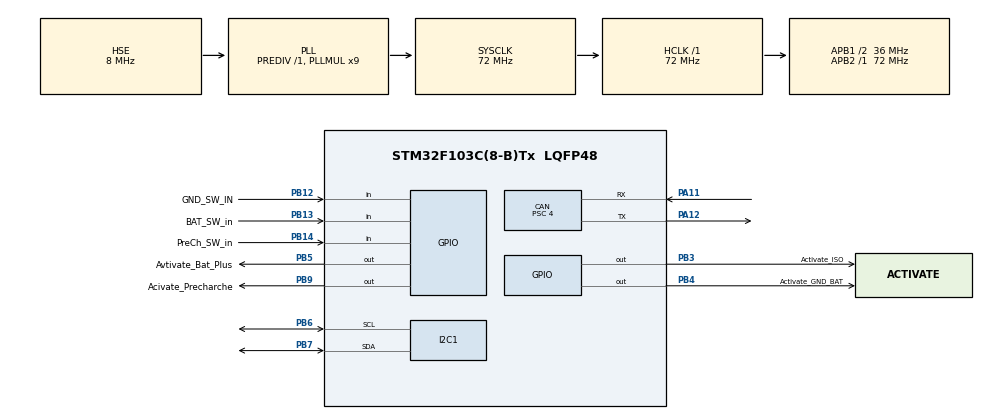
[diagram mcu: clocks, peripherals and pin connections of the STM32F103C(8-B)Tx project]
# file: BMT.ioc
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CAN.BS1=CAN_BS1_6TQ
CAN.BS2=CAN_BS2_2TQ
CAN.CalculateBaudRate=1000000
CAN.CalculateTimeBit=1000
CAN.CalculateTimeQuantum=111.11111111111111
CAN.Prescaler=4
I2C1.DualAddressMode=I2C_DUALADDRESS_DISABLE
I2C1.GeneralCallMode=I2C_GENERALCALL_DISABLE
I2C1.I2C_Mode=I2C_Fast
I2C1.NoStretchMode=I2C_NOSTRETCH_DISABLE
Mcu.Family=STM32F1
Mcu.Name=STM32F103C(8-B)Tx
Mcu.Package=LQFP48
NVIC.PriorityGroup=NVIC_PRIORITYGROUP_4
NVIC.TIM2_IRQn=true\:0\:0\:false\:false\:true\:true\:true\:true
NVIC.USB_LP_CAN1_RX0_IRQn=true\:0\:0\:false\:false\:true\:true\:true\:true
PA11.GPIO_PuPd=GPIO_PULLUP
PA11.Mode=CAN_Activate
PA11.Signal=CAN_RX
PA12.GPIO_Speed=GPIO_SPEED_FREQ_HIGH
PA12.Mode=CAN_Activate
PA12.Signal=CAN_TX
PA13.Mode=Serial_Wire
PA13.Signal=SYS_JTMS-SWDIO
PA14.Mode=Serial_Wire
PA14.Signal=SYS_JTCK-SWCLK
PB12.GPIO_Label=GND_SW_IN
PB12.Signal=GPIO_Input
PB13.GPIO_Label=BAT_SW_in
PB13.Signal=GPIO_Input
PB14.GPIO_Label=PreCh_SW_in
PB14.Signal=GPIO_Input
PB3.GPIO_Label=Activate_ISO
PB3.Signal=GPIO_Output
PB4.GPIO_Label=Activate_GND_BAT
PB4.Signal=GPIO_Output
PB5.GPIO_Label=Avtivate_Bat_Plus
PB5.Signal=GPIO_Output
PB6.GPIO_Speed=GPIO_SPEED_FREQ_HIGH
PB6.Mode=I2C
PB6.Signal=I2C1_SCL
PB7.GPIO_Speed=GPIO_SPEED_FREQ_HIGH
PB7.Mode=I2C
PB7.Signal=I2C1_SDA
PB9.GPIO_Label=Acivate_Precharche
PB9.Signal=GPIO_Output
PD0-OSC_IN.Mode=HSE-External-Oscillator
PD0-OSC_IN.Signal=RCC_OSC_IN
PD1-OSC_OUT.Mode=HSE-External-Oscillator
PD1-OSC_OUT.Signal=RCC_OSC_OUT
ProjectManager.HeapSize=0x200
ProjectManager.StackSize=0x400
ProjectManager.TargetToolchain=STM32CubeIDE
RCC.AHBFreq_Value=72000000
RCC.APB1CLKDivider=RCC_HCLK_DIV2
RCC.APB1Freq_Value=36000000
RCC.APB1TimFreq_Value=72000000
RCC.APB2Freq_Value=72000000
RCC.APB2TimFreq_Value=72000000
RCC.HCLKFreq_Value=72000000
RCC.PLLMUL=RCC_PLL_MUL9
RCC.PLLSourceVirtual=RCC_PLLSOURCE_HSE
RCC.SYSCLKFreq_VALUE=72000000
RCC.SYSCLKSource=RCC_SYSCLKSOURCE_PLLCLK
RCC.USBFreq_Value=72000000
TIM2.Period=200
TIM2.Prescaler=7200-1
VP_TIM2_VS_ClockSourceINT.Mode=Internal
board=custom

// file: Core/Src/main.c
/* USER CODE BEGIN Header */
/**
  ******************************************************************************
  * @file           : main.c
  * @brief          : Main program body
  ******************************************************************************
  * @attention
  *
  * Copyright (c) 2024 STMicroelectronics.
  * All rights reserved.
  *
  * This software is licensed under terms that can be found in the LICENSE file
  * in the root directory of this software component.
  * If no LICENSE file comes with this software, it is provided AS-IS.
  *
  ******************************************************************************
  */
/* USER CODE END Header */
#include "main.h"

/* USER CODE BEGIN Includes */
#include "MCP4725.h"
/* USER CODE END Includes */

CAN_HandleTypeDef hcan;

I2C_HandleTypeDef hi2c1;

TIM_HandleTypeDef htim2;

/* USER CODE BEGIN PV */
CAN_RxHeaderTypeDef rxHeader; 			//CAN Bus Receive Header
CAN_TxHeaderTypeDef txHeader; 			//CAN Bus Transmit Header
uint8_t canRX[8] = {0,0,0,0,0,0,0,0};  	//CAN Bus Receive Buffer
CAN_FilterTypeDef canfil; 				//CAN Bus Filter
uint32_t canMailbox; 					//CAN Bus Mail box variable
HAL_StatusTypeDef status_value;
struct Toggle_Object{
	uint8_t GND_SW;
	uint8_t BAT_SW;
	uint8_t PRE_CH_SW;
};

struct Toggle_Object toggle_switch;

struct Status_SW_Object{
	uint8_t status_BAT_SW;
	uint8_t status_GND_SW;
	uint8_t status_PRE_CH_SW;
};

struct Status_SW_Object status_switch;

struct Set_SW_Object{
	uint8_t set_BAT_SW;
	uint8_t set_GND_SW;
	uint8_t set_PRE_CH_SW;
};

struct Set_SW_Object set_switch;

uint8_t Set_ISO_Meter_Status;

int16_t sensor_voltage_in_100uV;
uint16_t DAC_digits;
uint16_t DAC_Address = 0xC4;
uint16_t DAC_Cmd = 0x00;
uint8_t DAC_Data[2];
uint8_t count=0;
MCP4725_t mcp4725;
uint8_t csend[8]={0x00,0x00,0x00,0x00,0x00,0x00,0x00,0x00};
int16_t OP_offset=150;// Offset of OPA2123 (entspricht 12mV)

/* USER CODE END PV */

void SystemClock_Config(void);
static void MX_GPIO_Init(void);
static void MX_CAN_Init(void);
static void MX_I2C1_Init(void);
static void MX_TIM2_Init(void);

/* USER CODE BEGIN 0 */
void Analyse_CANMsg_Reaction(void);
/*void HAL_CAN_RxFifo0MsgPendingCallback(CAN_HandleTypeDef *hcan)
{
	count++;
}*/
/* USER CODE END 0 */

int main(void)
{

  /* MCU Configuration--------------------------------------------------------*/

  /* Reset of all peripherals, Initializes the Flash interface and the Systick. */
  HAL_Init();

  /* Configure the system clock */
  SystemClock_Config();

  /* Initialize all configured peripherals */
  MX_GPIO_Init();
  MX_CAN_Init();
  MX_I2C1_Init();
  MX_TIM2_Init();
  /* USER CODE BEGIN 2 */

  //GPIO-Inititialization
  status_switch.status_BAT_SW=HAL_GPIO_ReadPin (GPIOB, BAT_SW_in_Pin);
  status_switch.status_GND_SW=HAL_GPIO_ReadPin (GPIOB, GND_SW_IN_Pin);
  status_switch.status_PRE_CH_SW=HAL_GPIO_ReadPin (GPIOB, PreCh_SW_in_Pin);

  set_switch.set_BAT_SW=status_switch.status_BAT_SW;
  set_switch.set_GND_SW=status_switch.status_GND_SW;
  set_switch.set_PRE_CH_SW=status_switch.status_PRE_CH_SW;

  HAL_GPIO_WritePin(GPIOB,Avtivate_Bat_Plus_Pin,set_switch.set_BAT_SW);
  HAL_GPIO_WritePin(GPIOB,Activate_GND_BAT_Pin,set_switch.set_GND_SW);
  HAL_GPIO_WritePin(GPIOB,Acivate_Precharche_Pin,set_switch.set_PRE_CH_SW);
  // ISO-Pin is with no error during initialization.
  HAL_GPIO_WritePin(GPIOB,Activate_ISO_Pin,GPIO_PIN_RESET);

  //DAC-Inititialization Currentsigna at 0A
  // Write 1,5V+OP_Offest at the DAC-Output with V_ref=3.3V
  status_value=MCP4725_Initialize(&mcp4725, &hi2c1, 0x60);
  DAC_digits=(uint16_t)( ( (double)(OP_offset)/10000.0 + 1.5)/3.3 *4095 );
  status_value=MCP4725_SetVoltage(&mcp4725, DAC_digits, MCP4725_DAC_ONLY);

  // Start CAN-Bus
  HAL_CAN_Start(&hcan);
  // CAN-Receive Interrupt
  HAL_CAN_ActivateNotification(&hcan, CAN_IT_RX_FIFO0_MSG_PENDING);

  // Start Timer 2
  HAL_TIM_Base_Start_IT(&htim2);

  /* USER CODE END 2 */

  /* Infinite loop */
  while (1)
  {

    /* USER CODE BEGIN 3 */

	// Prepare the output of the switch manipulation
	set_switch.set_BAT_SW=HAL_GPIO_ReadPin (GPIOB, BAT_SW_in_Pin);
	set_switch.set_GND_SW=HAL_GPIO_ReadPin (GPIOB, GND_SW_IN_Pin);
	set_switch.set_PRE_CH_SW=HAL_GPIO_ReadPin (GPIOB, PreCh_SW_in_Pin);
	// Find out, if Error is provoked
	if (toggle_switch.BAT_SW)
		set_switch.set_BAT_SW=(status_switch.status_BAT_SW > 0x00) ? 0x00 : 0x01;
	if (toggle_switch.GND_SW)
		set_switch.set_GND_SW=(status_switch.status_GND_SW > 0x00) ? 0x00 : 0x01;
	if (toggle_switch.PRE_CH_SW)
		set_switch.set_PRE_CH_SW=(status_switch.status_PRE_CH_SW > 0x00) ? 0x00 :0x01;
	// Update Status of Supp
	HAL_GPIO_WritePin(GPIOB,Avtivate_Bat_Plus_Pin,set_switch.set_BAT_SW);
	HAL_GPIO_WritePin(GPIOB,Activate_GND_BAT_Pin,set_switch.set_GND_SW);
	HAL_GPIO_WritePin(GPIOB,Acivate_Precharche_Pin,set_switch.set_PRE_CH_SW);

	csend[0]=set_switch.set_PRE_CH_SW<<5|set_switch.set_GND_SW<<4|set_switch.set_BAT_SW<<3|toggle_switch.PRE_CH_SW<<2|toggle_switch.GND_SW<<1|toggle_switch.BAT_SW;
	csend[1]=canRX[1];
	csend[2]=canRX[2];
	csend[3]=canRX[3];
	//HAL_GPIO_TogglePin(GPIOB, Avtivate_Bat_Plus_Pin);
	//HAL_CAN_AddTxMessage(&hcan,&txHeader,csend,&canMailbox);
	HAL_Delay(1);

  }
  /* USER CODE END 3 */
}

void SystemClock_Config(void)
{
  RCC_OscInitTypeDef RCC_OscInitStruct = {0};
  RCC_ClkInitTypeDef RCC_ClkInitStruct = {0};

  /** Initializes the RCC Oscillators according to the specified parameters
  * in the RCC_OscInitTypeDef structure.
  */
  RCC_OscInitStruct.OscillatorType = RCC_OSCILLATORTYPE_HSE;
  RCC_OscInitStruct.HSEState = RCC_HSE_ON;
  RCC_OscInitStruct.HSEPredivValue = RCC_HSE_PREDIV_DIV1;
  RCC_OscInitStruct.HSIState = RCC_HSI_ON;
  RCC_OscInitStruct.PLL.PLLState = RCC_PLL_ON;
  RCC_OscInitStruct.PLL.PLLSource = RCC_PLLSOURCE_HSE;
  RCC_OscInitStruct.PLL.PLLMUL = RCC_PLL_MUL9;
  if (HAL_RCC_OscConfig(&RCC_OscInitStruct) != HAL_OK)
  {
    Error_Handler();
  }

  /** Initializes the CPU, AHB and APB buses clocks
  */
  RCC_ClkInitStruct.ClockType = RCC_CLOCKTYPE_HCLK|RCC_CLOCKTYPE_SYSCLK
                              |RCC_CLOCKTYPE_PCLK1|RCC_CLOCKTYPE_PCLK2;
  RCC_ClkInitStruct.SYSCLKSource = RCC_SYSCLKSOURCE_PLLCLK;
  RCC_ClkInitStruct.AHBCLKDivider = RCC_SYSCLK_DIV1;
  RCC_ClkInitStruct.APB1CLKDivider = RCC_HCLK_DIV2;
  RCC_ClkInitStruct.APB2CLKDivider = RCC_HCLK_DIV1;

  if (HAL_RCC_ClockConfig(&RCC_ClkInitStruct, FLASH_LATENCY_2) != HAL_OK)
  {
    Error_Handler();
  }
}

static void MX_CAN_Init(void)
{

  hcan.Instance = CAN1;
  hcan.Init.Prescaler = 4;
  hcan.Init.Mode = CAN_MODE_NORMAL;
  hcan.Init.SyncJumpWidth = CAN_SJW_1TQ;
  hcan.Init.TimeSeg1 = CAN_BS1_6TQ;
  hcan.Init.TimeSeg2 = CAN_BS2_2TQ;
  hcan.Init.TimeTriggeredMode = DISABLE;
  hcan.Init.AutoBusOff = DISABLE;
  hcan.Init.AutoWakeUp = DISABLE;
  hcan.Init.AutoRetransmission = DISABLE;
  hcan.Init.ReceiveFifoLocked = DISABLE;
  hcan.Init.TransmitFifoPriority = DISABLE;
  if (HAL_CAN_Init(&hcan) != HAL_OK)
  {
    Error_Handler();
  }
  /* USER CODE BEGIN CAN_Init 2 */
  // Organize CAN-Bus
  canfil.FilterBank = 0;
  canfil.FilterMode = CAN_FILTERMODE_IDMASK;
  canfil.FilterFIFOAssignment = CAN_RX_FIFO0;
  canfil.FilterIdHigh = 0x699<<5;
  canfil.FilterIdLow = 0;
  canfil.FilterMaskIdHigh = 0x7FF<<5;
  canfil.FilterMaskIdLow = 0;
  canfil.FilterScale = CAN_FILTERSCALE_32BIT;
  canfil.FilterActivation = CAN_FILTER_ENABLE;
  canfil.SlaveStartFilterBank = 13;

  txHeader.DLC = 8;
  txHeader.IDE = CAN_ID_STD;
  txHeader.RTR = CAN_RTR_DATA;
  txHeader.StdId = 0x69A;
  //txHeader.ExtId = 0x00;
  txHeader.TransmitGlobalTime = DISABLE;

  HAL_CAN_ConfigFilter(&hcan,&canfil);
  /* USER CODE END CAN_Init 2 */

}

static void MX_I2C1_Init(void)
{

  hi2c1.Instance = I2C1;
  hi2c1.Init.ClockSpeed = 400000;
  hi2c1.Init.DutyCycle = I2C_DUTYCYCLE_2;
  hi2c1.Init.OwnAddress1 = 0;
  hi2c1.Init.AddressingMode = I2C_ADDRESSINGMODE_7BIT;
  hi2c1.Init.DualAddressMode = I2C_DUALADDRESS_DISABLE;
  hi2c1.Init.OwnAddress2 = 0;
  hi2c1.Init.GeneralCallMode = I2C_GENERALCALL_DISABLE;
  hi2c1.Init.NoStretchMode = I2C_NOSTRETCH_DISABLE;
  if (HAL_I2C_Init(&hi2c1) != HAL_OK)
  {
    Error_Handler();
  }

}

static void MX_TIM2_Init(void)
{

  TIM_ClockConfigTypeDef sClockSourceConfig = {0};
  TIM_MasterConfigTypeDef sMasterConfig = {0};

  htim2.Instance = TIM2;
  htim2.Init.Prescaler = 7200-1;
  htim2.Init.CounterMode = TIM_COUNTERMODE_UP;
  htim2.Init.Period = 200;
  htim2.Init.ClockDivision = TIM_CLOCKDIVISION_DIV1;
  htim2.Init.AutoReloadPreload = TIM_AUTORELOAD_PRELOAD_DISABLE;
  if (HAL_TIM_Base_Init(&htim2) != HAL_OK)
  {
    Error_Handler();
  }
  sClockSourceConfig.ClockSource = TIM_CLOCKSOURCE_INTERNAL;
  if (HAL_TIM_ConfigClockSource(&htim2, &sClockSourceConfig) != HAL_OK)
  {
    Error_Handler();
  }
  sMasterConfig.MasterOutputTrigger = TIM_TRGO_RESET;
  sMasterConfig.MasterSlaveMode = TIM_MASTERSLAVEMODE_DISABLE;
  if (HAL_TIMEx_MasterConfigSynchronization(&htim2, &sMasterConfig) != HAL_OK)
  {
    Error_Handler();
  }

}

static void MX_GPIO_Init(void)
{
  GPIO_InitTypeDef GPIO_InitStruct = {0};

  /* GPIO Ports Clock Enable */
  __HAL_RCC_GPIOD_CLK_ENABLE();
  __HAL_RCC_GPIOB_CLK_ENABLE();
  __HAL_RCC_GPIOA_CLK_ENABLE();

  /*Configure GPIO pin Output Level */
  HAL_GPIO_WritePin(GPIOB, Activate_ISO_Pin|Activate_GND_BAT_Pin|Avtivate_Bat_Plus_Pin|Acivate_Precharche_Pin, GPIO_PIN_RESET);

  /*Configure GPIO pins : GND_SW_IN_Pin BAT_SW_in_Pin PreCh_SW_in_Pin */
  GPIO_InitStruct.Pin = GND_SW_IN_Pin|BAT_SW_in_Pin|PreCh_SW_in_Pin;
  GPIO_InitStruct.Mode = GPIO_MODE_INPUT;
  GPIO_InitStruct.Pull = GPIO_NOPULL;
  HAL_GPIO_Init(GPIOB, &GPIO_InitStruct);

  /*Configure GPIO pins : Activate_ISO_Pin Activate_GND_BAT_Pin Avtivate_Bat_Plus_Pin Acivate_Precharche_Pin */
  GPIO_InitStruct.Pin = Activate_ISO_Pin|Activate_GND_BAT_Pin|Avtivate_Bat_Plus_Pin|Acivate_Precharche_Pin;
  GPIO_InitStruct.Mode = GPIO_MODE_OUTPUT_PP;
  GPIO_InitStruct.Pull = GPIO_NOPULL;
  GPIO_InitStruct.Speed = GPIO_SPEED_FREQ_LOW;
  HAL_GPIO_Init(GPIOB, &GPIO_InitStruct);

}

/* USER CODE BEGIN 4 */

void Analyse_CANMsg_Reaction(void)
{
  // canRX[0]=0b0000 0XYZ X: Toggle Main_Switch, Y: Toggle Bat_Plus_Switch Z: Toggle Precharge_Switch
  // canRX[1]=0x0X : X=1 (OK), X=0 (NOK)
  // canRX[2],[3]: Voltage in 100µV (-15.000..15.000)*100µV
  toggle_switch.BAT_SW=canRX[0]&0x01;
  toggle_switch.GND_SW=(canRX[0]&0x02)>>1;
  toggle_switch.PRE_CH_SW=(canRX[0]&0x04)>>2;
  Set_ISO_Meter_Status=canRX[1];
  // Detect actual status of the switches
  status_switch.status_BAT_SW=HAL_GPIO_ReadPin (GPIOB, BAT_SW_in_Pin);
  status_switch.status_GND_SW=HAL_GPIO_ReadPin (GPIOB, GND_SW_IN_Pin);
  status_switch.status_PRE_CH_SW=HAL_GPIO_ReadPin (GPIOB, PreCh_SW_in_Pin);
  // Prepare the output of the switch manipulation
  set_switch.set_BAT_SW=status_switch.status_BAT_SW;
  set_switch.set_GND_SW=status_switch.status_GND_SW;
  set_switch.set_PRE_CH_SW=status_switch.status_PRE_CH_SW;
  // Check if a toggle-manipulation is necessary
  if (toggle_switch.BAT_SW)
	  set_switch.set_BAT_SW=(status_switch.status_BAT_SW > 0x00) ? 0x00 : 0x01;
  if (toggle_switch.GND_SW)
	  set_switch.set_GND_SW=(status_switch.status_GND_SW > 0x00) ? 0x00 : 0x01;
  if (toggle_switch.PRE_CH_SW)
  	  set_switch.set_PRE_CH_SW=(status_switch.status_PRE_CH_SW > 0x00) ? 0x00 :0x01;
  // Update the output signals of the bluepill
  HAL_GPIO_WritePin(GPIOB,Avtivate_Bat_Plus_Pin,set_switch.set_BAT_SW);
  HAL_GPIO_WritePin(GPIOB,Activate_GND_BAT_Pin,set_switch.set_GND_SW);
  HAL_GPIO_WritePin(GPIOB,Acivate_Precharche_Pin,set_switch.set_PRE_CH_SW);
  HAL_GPIO_WritePin(GPIOB,Activate_ISO_Pin,Set_ISO_Meter_Status);
  // Calculate the DAC digits of the DAC zwischen -10.000[*100µ])...+10.000[*100µV]->-100mV..100mV
  sensor_voltage_in_100uV =(int16_t)(canRX[2]<<8 | canRX[3]);
  // Sensor voltage 1.000->+100mV liegt als Sensorsignal vor.
  // Sensor voltage: -1.000->-100mV liegt als Sensorsignal vor.
  // Sensor voltage: 0 ->0mV

  DAC_digits=(uint16_t)( ( (double)(sensor_voltage_in_100uV+OP_offset)/10000.0 +1.5)/3.3 *4095 );
  status_value=MCP4725_SetVoltage(&mcp4725, DAC_digits, MCP4725_DAC_ONLY);
   //HAL_I2C_Mem_Write(&hi2c1,DAC_Address,DAC_Cmd,1,DAC_LowByte,1,20);
  //HAL_I2C_Master_Transmit(&hi2c1, DAC_Address, &DAC_Data, 2, HAL_MAX_DELAY);
}

void HAL_TIM_PerioElapsedCallback(TIM_HandleTypeDef *htim)
{
	if (htim->Instance ==TIM2)
		HAL_CAN_AddTxMessage(&hcan,&txHeader,csend,&canMailbox);

}

/* USER CODE END 4 */

void Error_Handler(void)
{
  __disable_irq();
  while (1)
  {
  }
}
